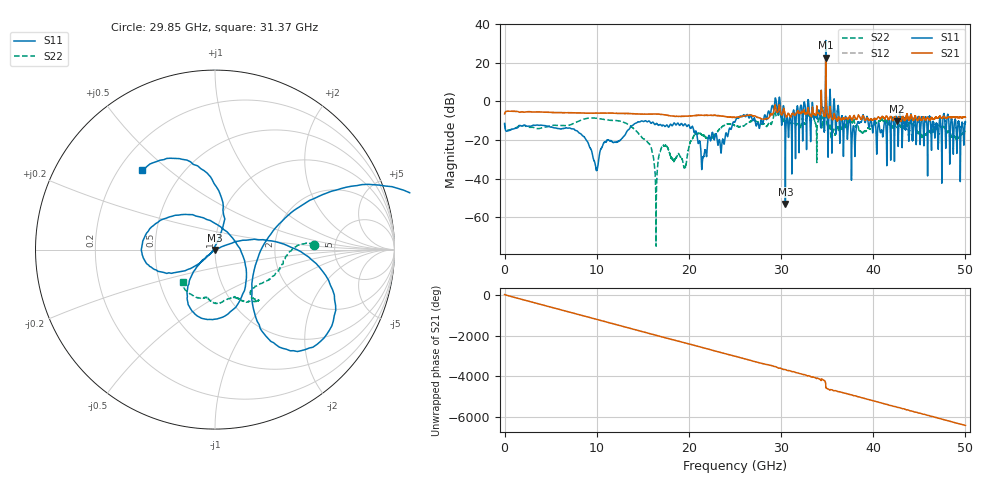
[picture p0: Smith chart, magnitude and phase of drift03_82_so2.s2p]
!Created with skrf (http://scikit-rf.org).
# Hz S RI R 50.0
!freq ReS11 ImS11 ReS21 ImS21 ReS12 ImS12 ReS22 ImS22
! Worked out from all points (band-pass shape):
!   10001 points, 300 kHz to 50 GHz, reference 50 ohm
!   highest |S21| = 22.76 dB at 34.85 GHz (marker M1); lowest = -10.3 dB at 42.55 GHz (marker M2)
!   |S21| within 3 dB of the highest: 34.8415 GHz to 34.84641 GHz (4.91 MHz wide, 0.0141 % of centre)
!   lowest |S11| = -53.2 dB at 30.47 GHz (marker M3), VSWR 1.00, Z = 50.2 - j0.139 ohm
!   |S11| at or under -10 dB: start of sweep to 15.23 GHz; 15.31 GHz to 25.05 GHz (9.74 GHz wide, 48.3 % of centre); 40.22 GHz to 41.61 GHz (1.39 GHz wide, 3.4 % of centre) (the widest 3 of 49)
!   |S22| runs from -75.1 to 13.5 dB; largest |S21 - S12| = 1.8
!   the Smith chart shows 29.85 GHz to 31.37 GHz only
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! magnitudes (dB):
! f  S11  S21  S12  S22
! 300 kHz  -11.4  -6.5  -6.4  -11.4
! 8.335 GHz  -17.1  -6.0  -6.0  -9.6
! 9.955 GHz  -35.7  -6.1  -6.0  -8.7
! 10.91 GHz  -21.0  -6.0  -6.0  -9.4
! 13.85 GHz  -12.5  -6.3  -6.3  -13.5
! 16.67 GHz  -12.3  -6.5  -6.5  -30.4
! 17.33 GHz  -12.7  -6.9  -6.9  -23.0
! 19.56 GHz  -11.6  -7.6  -7.6  -34.0
! 20.22 GHz  -13.9  -7.4  -7.4  -20.5
! 21.55 GHz  -28.7  -7.2  -7.2  -17.9
! 25 GHz  -10.6  -8.2  -8.2  -12.5
! 27.51 GHz  -11.0  -8.3  -8.3  -10.7
! 29.6 GHz  -5.5  -5.7  -5.9  -7.8
! 30.47 GHz  -53.2  -7.2  -7.2  -9.0
! 33.34 GHz  -3.7  -6.8  -6.7  -9.4
! 34.85 GHz  31.7  22.8  22.5  13.5
! 35.63 GHz  -6.6  -9.2  -9.1  -16.2
! 37.83 GHz  -12.9  -8.2  -8.2  -9.6
! 39.07 GHz  -10.2  -9.3  -9.4  -15.4
! 41.67 GHz  -9.2  -9.4  -9.4  -11.5
! 42.55 GHz  -8.6  -10.3  -10.3  -13.2
! 50 GHz  -10.7  -8.1  -8.2  -15.3
